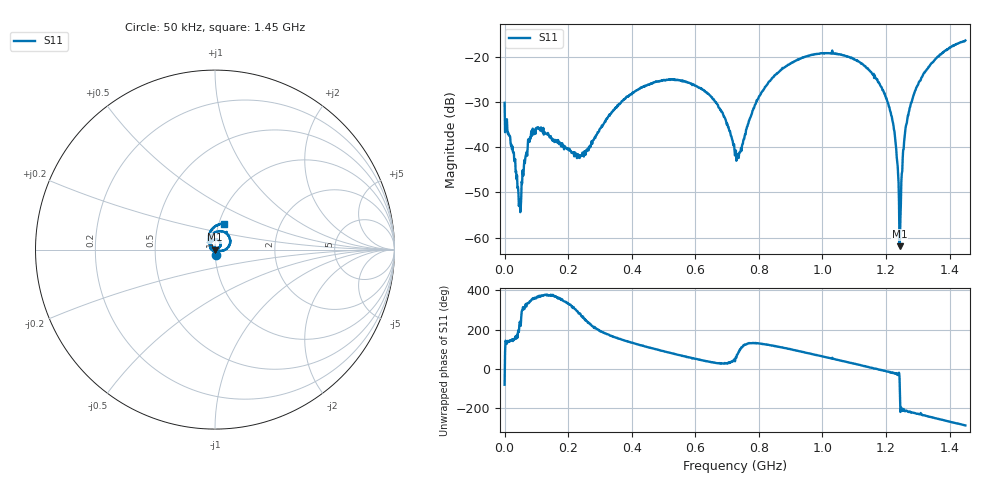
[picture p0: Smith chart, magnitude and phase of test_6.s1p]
! Created with skrf 1.11.0 (http://scikit-rf.org).
# Hz S RI R 50.0
!freq ReS11 ImS11
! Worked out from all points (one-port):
!   1001 points, 50 kHz to 1.45 GHz, reference 50 ohm
!   lowest |S11| = -61.9 dB at 1.243 GHz (marker M1), VSWR 1.00, Z = 50.1 - j0.0514 ohm
!   |S11| at or under -10 dB: start of sweep to end of sweep
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50000  0.00515 -0.0307
2.9049e7  -0.00779 0.00405
4.789835e7  -0.00132 -0.00232
6.96476e7  0.00788 -0.00413
9.139685e7  0.0139 9e-06
1.812938e8  0.0111 -0.00101
2.479914e8  -0.00128 -0.00844
3.625375e8  -0.0268 0.0139
4.393848e8  -0.0201 0.0423
5.437812e8  0.0168 0.0534
6.597772e8  0.0282 0.0174
6.902262e8  0.0193 0.01
7.25025e8  0.0063 0.00513
7.424244e8  -0.00208 0.00876
7.859229e8  -0.0186 0.0211
8.149219e8  -0.0259 0.0352
9.062688e8  -0.0123 0.087
1.087512e9  0.0852 0.0508
1.15421e9  0.0674 0.00697
1.203508e9  0.032 -0.00755
1.225258e9  0.0148 -0.00542
1.242657e9  0.000619 -0.000513
1.248457e9  -0.00405 0.00128
1.255707e9  -0.00873 0.00387
1.268756e9  -0.0176 0.0139
1.296305e9  -0.0307 0.0347
1.335454e9  -0.0357 0.0698
1.45e9  0.0474 0.1454
